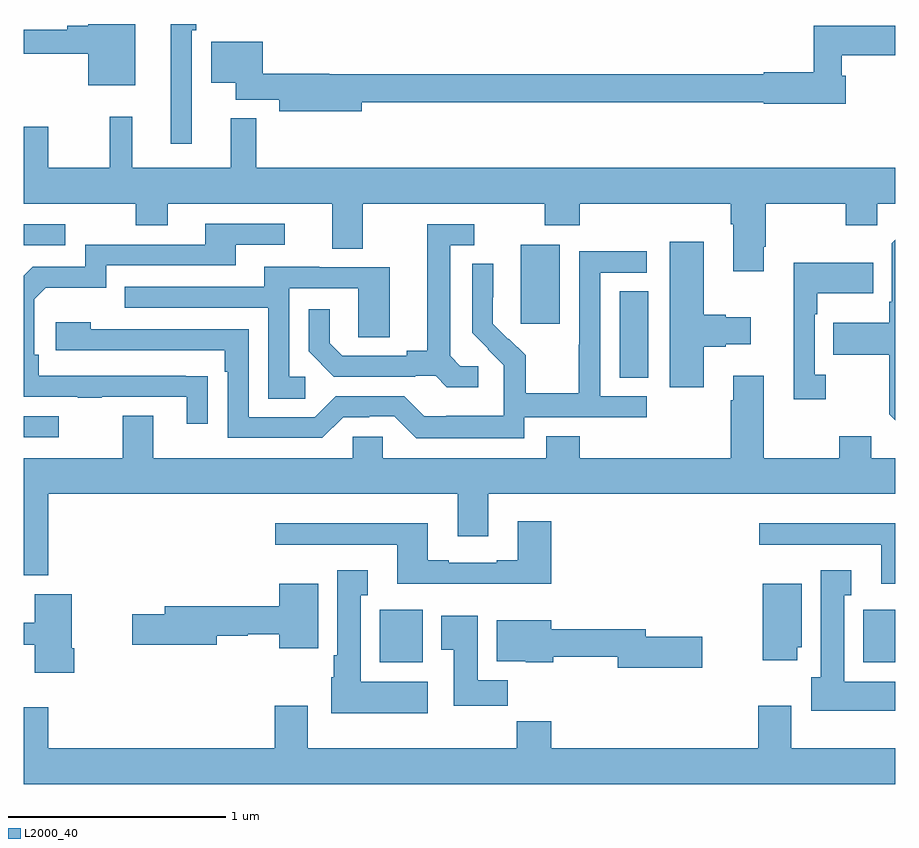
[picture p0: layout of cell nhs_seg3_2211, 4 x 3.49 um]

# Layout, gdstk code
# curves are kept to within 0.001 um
import gdstk
lib = gdstk.Library(unit=1e-6, precision=1e-09)
def R(c, l, rs):  # rectangles x0, y0, x1, y1
    for r in rs: c.add(gdstk.rectangle(r[:2], r[2:], *l))
def P(c, l, *ps):  # polygons
    for p in ps: c.add(gdstk.Polygon(p, *l))
L2000_40 = (2000, 40)

nhs_seg3_2211 = lib.new_cell('nhs_seg3_2211')
R(nhs_seg3_2211, L2000_40, [(226.634,705.47,226.831,705.712), (228.854,705.47,229,705.712), (225,706.503,225.16,706.599), (227.735,706.777,227.866,707.174), (227.282,707.025,227.461,707.386), (225,707.385,225.19,707.481)])
P(nhs_seg3_2211, L2000_40, [(225.771,708.371),(225.791,708.371),(225.791,708.4),(225.674,708.4),(225.674,707.85),(225.771,707.85)],
  [(225.511,708.4),(225.296,708.4),(225.296,708.392),(225.2,708.392),(225.2,708.373),(225,708.373),(225,708.264),(225.296,708.264),(225.296,708.119),(225.511,708.119)],
  [(226.552,708.042),(228.396,708.042),(228.396,708.034),(228.772,708.034),(228.772,708.163),(228.754,708.163),(228.754,708.256),(229,708.256),(229,708.392),(228.625,708.392),(228.625,708.178),(228.396,708.178),(228.396,708.17),(226.402,708.17),(226.402,708.171),(226.096,708.171),(226.096,708.319),(225.86,708.319),(225.86,708.131),(225.974,708.131),(225.974,708.053),(226.172,708.053),(226.172,707.999),(226.552,707.999)],
  [(228.397,707.377),(228.405,707.377),(228.405,707.576),(228.772,707.576),(228.772,707.477),(228.918,707.477),(228.918,707.576),(229,707.576),(229,707.74),(226.067,707.74),(226.067,707.968),(225.95,707.968),(225.95,707.74),(225.497,707.74),(225.497,707.974),(225.394,707.974),(225.394,707.74),(225.112,707.74),(225.112,707.929),(225,707.929),(225,707.576),(225.514,707.576),(225.514,707.477),(225.661,707.477),(225.661,707.576),(226.415,707.576),(226.415,707.368),(226.555,707.368),(226.555,707.576),(227.392,707.576),(227.392,707.477),(227.552,707.477),(227.552,707.576),(228.245,707.576),(228.245,707.48),(228.257,707.48),(228.257,707.265),(228.397,707.265)],
  [(225.845,706.784),(225.068,706.785),(225.068,706.882),(225.048,706.882),(225.048,707.136),(225.101,707.189),(225.378,707.189),(225.378,707.292),(225.973,707.292),(225.973,707.388),(226.198,707.388),(226.198,707.484),(225.833,707.484),(225.833,707.388),(225.282,707.388),(225.282,707.286),(225.042,707.286),(225,707.244),(225,706.689),(225.247,706.689),(225.247,706.684),(225.359,706.684),(225.359,706.689),(225.749,706.689),(225.749,706.566),(225.845,706.566)],
  [(227.086,706.83),(227.004,706.83),(226.957,706.877),(226.957,707.385),(227.068,707.385),(227.068,707.481),(226.853,707.481),(226.853,706.901),(226.757,706.901),(226.757,706.878),(226.462,706.878),(226.405,706.935),(226.405,707.092),(226.308,707.092),(226.308,706.898),(226.424,706.782),(226.796,706.782),(226.796,706.785),(226.89,706.785),(226.942,706.733),(227.086,706.733)],
  [(229,707.41),(228.984,707.394),(228.984,707.125),(228.972,707.125),(228.972,707.029),(228.715,707.029),(228.715,706.882),(228.972,706.882),(228.972,706.609),(229,706.581)],
  [(228.121,706.919),(228.221,706.919),(228.221,706.931),(228.337,706.931),(228.337,707.053),(228.221,707.053),(228.221,707.066),(228.121,707.066),(228.121,707.401),(227.966,707.401),(227.966,706.734),(228.121,706.734)],
  [(227.298,706.596),(227.86,706.596),(227.86,706.692),(227.646,706.692),(227.646,707.259),(227.86,707.259),(227.86,707.358),(227.55,707.358),(227.55,706.928),(227.548,706.928),(227.548,706.705),(227.303,706.705),(227.303,706.879),(227.226,706.956),(227.223,706.953),(227.153,707.024),(227.154,707.3),(227.058,707.3),(227.058,706.982),(227.204,706.834),(227.204,706.737),(227.202,706.737),(227.202,706.603),(226.939,706.603),(226.939,706.599),(226.839,706.599),(226.746,706.692),(226.431,706.692),(226.335,706.596),(226.032,706.596),(226.032,706.998),(225.308,706.998),(225.308,707.032),(225.147,707.032),(225.147,706.902),(225.923,706.902),(225.923,706.805),(225.936,706.805),(225.936,706.5),(226.371,706.5),(226.467,706.596),(226.586,706.596),(226.586,706.599),(226.701,706.599),(226.801,706.499),(227.298,706.499)],
  [(228.682,706.79),(228.63,706.79),(228.63,707.069),(228.643,707.069),(228.643,707.165),(228.899,707.165),(228.899,707.305),(228.533,707.305),(228.533,706.677),(228.682,706.677)],
  [(226.291,706.782),(226.218,706.782),(226.218,707.187),(226.536,707.187),(226.536,706.963),(226.681,706.963),(226.681,707.283),(226.357,707.283),(226.357,707.287),(226.103,707.287),(226.103,707.193),(225.463,707.193),(225.463,707.097),(226.122,707.097),(226.122,706.681),(226.291,706.681)],
  [(225.112,706.244),(226.991,706.244),(226.991,706.05),(227.131,706.05),(227.131,706.244),(229,706.244),(229,706.408),(228.889,706.408),(228.889,706.507),(228.742,706.507),(228.742,706.408),(228.397,706.408),(228.397,706.786),(228.257,706.786),(228.257,706.673),(228.245,706.673),(228.245,706.408),(227.552,706.408),(227.552,706.507),(227.399,706.507),(227.399,706.408),(226.647,706.408),(226.647,706.506),(226.509,706.506),(226.509,706.408),(225.595,706.408),(225.595,706.603),(225.455,706.603),(225.455,706.408),(225,706.408),(225,705.87),(225.112,705.87)],
  [(227.42,706.117),(227.267,706.117),(227.267,705.94),(227.171,705.94),(227.171,705.927),(226.951,705.927),(226.951,705.94),(226.855,705.94),(226.855,706.108),(226.155,706.108),(226.155,706.011),(226.715,706.011),(226.715,705.83),(227.42,705.83)],
  [(229,706.108),(228.375,706.108),(228.375,706.011),(228.935,706.011),(228.935,705.83),(229,705.83)],
  [(229,705.382),(228.766,705.382),(228.766,705.779),(228.799,705.779),(228.799,705.892),(228.659,705.892),(228.659,705.402),(228.614,705.402),(228.614,705.248),(229,705.248)],
  [(226.855,705.382),(226.546,705.382),(226.546,705.779),(226.579,705.779),(226.579,705.892),(226.439,705.892),(226.439,705.502),(226.424,705.502),(226.424,705.402),(226.412,705.402),(226.412,705.236),(226.855,705.236)],
  [(228.55,705.54),(228.571,705.54),(228.571,705.832),(228.392,705.832),(228.392,705.48),(228.55,705.48)],
  [(226.351,705.832),(226.172,705.832),(226.172,705.728),(225.647,705.728),(225.647,705.692),(225.498,705.692),(225.498,705.55),(225.886,705.55),(225.886,705.592),(226.029,705.592),(226.029,705.6),(226.172,705.6),(226.172,705.536),(226.351,705.536)],
  [(225.233,705.535),(225.22,705.535),(225.22,705.784),(225.05,705.784),(225.05,705.653),(225,705.653),(225,705.55),(225.05,705.55),(225.05,705.423),(225.233,705.423)],
  [(227.222,705.388),(227.083,705.388),(227.083,705.685),(226.916,705.685),(226.916,705.529),(226.973,705.529),(226.973,705.27),(227.222,705.27)],
  [(228.115,705.587),(227.854,705.587),(227.854,705.623),(227.422,705.623),(227.422,705.664),(227.171,705.664),(227.171,705.476),(227.304,705.476),(227.304,705.47),(227.43,705.47),(227.43,705.495),(227.726,705.495),(227.726,705.445),(228.115,705.445)],
  [(229,705.076),(228.523,705.076),(228.523,705.271),(228.371,705.271),(228.371,705.076),(227.42,705.076),(227.42,705.2),(227.263,705.2),(227.263,705.076),(226.303,705.076),(226.303,705.271),(226.151,705.271),(226.151,705.076),(225.112,705.076),(225.112,705.265),(225,705.265),(225,704.912),(229,704.912)])

lib.write_gds('nhs_seg3_2211.gds')
